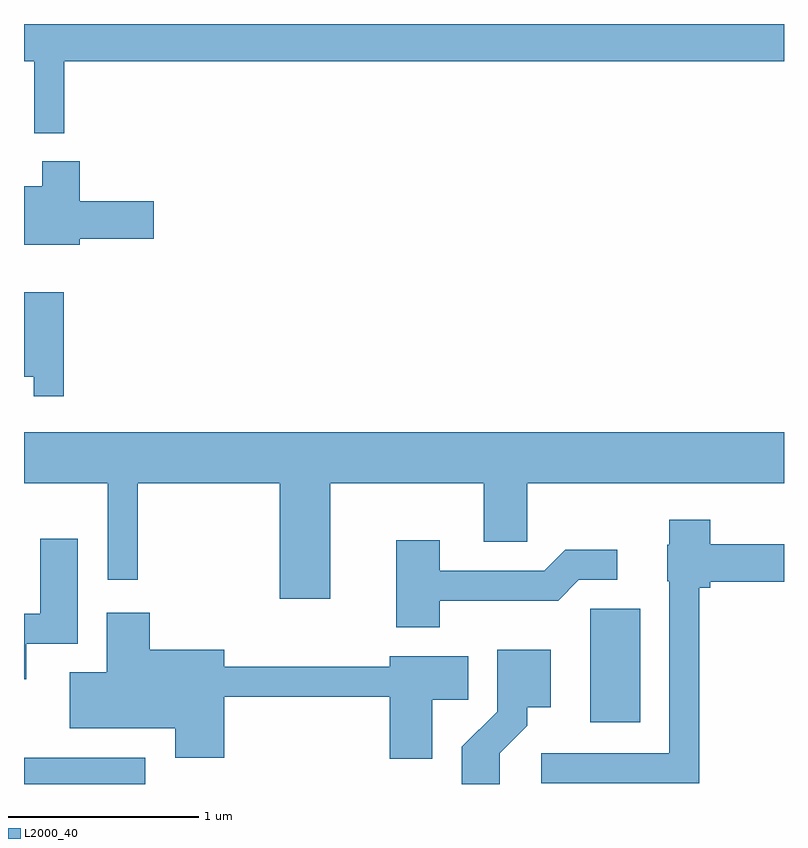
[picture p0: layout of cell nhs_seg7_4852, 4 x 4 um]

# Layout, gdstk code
import gdstk
lib = gdstk.Library(unit=1e-6, precision=1e-09)
def R(c, l, rs):  # rectangles x0, y0, x1, y1
    for r in rs: c.add(gdstk.rectangle(r[:2], r[2:], *l))
def P(c, l, *ps):  # polygons
    for p in ps: c.add(gdstk.Polygon(p, *l))
L2000_40 = (2000, 40)

nhs_seg7_4852 = lib.new_cell('nhs_seg7_4852')
R(nhs_seg7_4852, L2000_40, [(333.611,1748.252,334.248,1748.389), (336.591,1748.576,336.854,1749.174)])
P(nhs_seg7_4852, L2000_40, [(333.824,1752.056),(337.611,1752.056),(337.611,1752.252),(333.611,1752.252),(333.611,1752.056),(333.666,1752.056),(333.666,1751.678),(333.824,1751.678)],
  [(333.904,1751.121),(334.294,1751.121),(334.294,1751.319),(333.904,1751.319),(333.904,1751.529),(333.706,1751.529),(333.706,1751.399),(333.611,1751.399),(333.611,1751.091),(333.904,1751.091)],
  [(333.819,1750.839),(333.611,1750.839),(333.611,1750.396),(333.661,1750.396),(333.661,1750.293),(333.819,1750.293)],
  [(335.224,1749.836),(336.031,1749.836),(336.031,1749.526),(336.259,1749.526),(336.259,1749.836),(337.611,1749.836),(337.611,1750.104),(333.611,1750.104),(333.611,1749.836),(334.051,1749.836),(334.051,1749.328),(334.209,1749.328),(334.209,1749.836),(334.956,1749.836),(334.956,1749.226),(335.224,1749.226)],
  [(337.164,1749.286),(337.224,1749.286),(337.224,1749.316),(337.611,1749.316),(337.611,1749.514),(337.224,1749.514),(337.224,1749.644),(337.006,1749.644),(337.006,1749.51),(336.996,1749.51),(336.996,1749.32),(337.006,1749.32),(337.006,1748.414),(336.333,1748.414),(336.333,1748.256),(337.164,1748.256)],
  [(333.624,1748.991),(333.894,1748.991),(333.894,1749.544),(333.696,1749.544),(333.696,1749.149),(333.611,1749.149),(333.611,1748.803),(333.624,1748.803)],
  [(335.799,1749.216),(336.422,1749.216),(336.532,1749.326),(336.733,1749.326),(336.733,1749.484),(336.459,1749.484),(336.349,1749.374),(335.799,1749.374),(335.799,1749.534),(335.571,1749.534),(335.571,1749.076),(335.799,1749.076)],
  [(335.759,1748.696),(335.949,1748.696),(335.949,1748.924),(335.536,1748.924),(335.536,1748.869),(334.664,1748.869),(334.664,1748.959),(334.274,1748.959),(334.274,1749.154),(334.046,1749.154),(334.046,1748.839),(333.851,1748.839),(333.851,1748.546),(334.406,1748.546),(334.406,1748.391),(334.664,1748.391),(334.664,1748.711),(335.536,1748.711),(335.536,1748.386),(335.759,1748.386)],
  [(336.114,1748.414),(336.259,1748.559),(336.259,1748.656),(336.384,1748.656),(336.384,1748.959),(336.101,1748.959),(336.101,1748.632),(335.916,1748.447),(335.916,1748.252),(336.114,1748.252)])

lib.write_gds('nhs_seg7_4852.gds')
